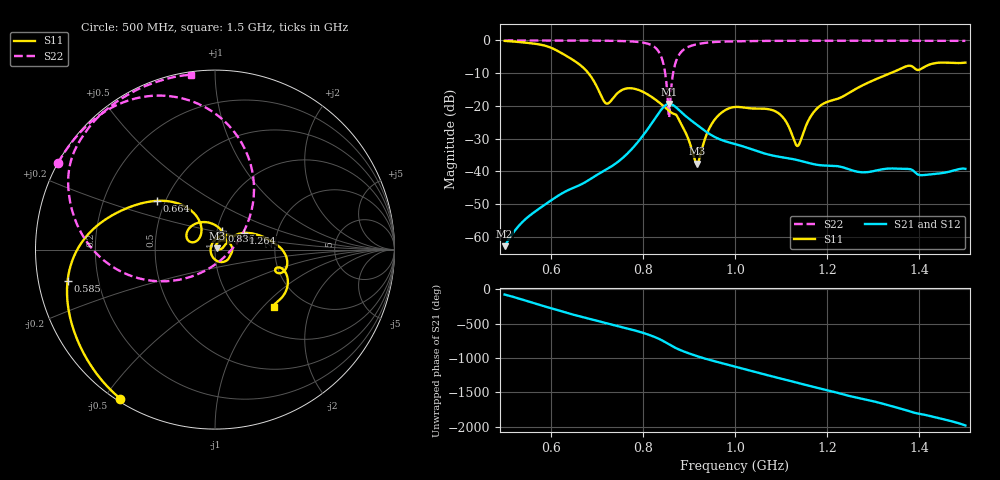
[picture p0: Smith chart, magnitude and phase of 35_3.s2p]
! TOUCHSTONE file generated by CST MICROWAVE STUDIO
! Date and time: Fri Oct 30 08:07:05 2020
! Project name: Scenario_1_Circular_Tissue_out_of_Line.cst
! Parameters = {dy1=243.594; L_HA=400; MT=2.54; Rad_Dielectric=30; Rad_Lower=7.3; Rad_Upper=30; a_HA=580; a_WG=246; b_HA=500; b_WG=121; c_HA=0; c_WG=187; d_feed=85; dx1=520; h_feed=15; h_lower=18; h_upper=40}
! Header version: 2018
! Port assignment regex: !\s*Touchstone port\s*([0-9]+)\s*=\s*(CST MWS port|CST DS port)\s*([0-9]+|Zmin|Zmax)\s*\(\"(.*)\"\)(\s*mode\s*([0-9]+))?.*
! Touchstone port assignment:
! Touchstone port 1 = CST MWS port 1 ("")
! Touchstone port 2 = CST MWS port 2 ("")
# GHz S DB R 50
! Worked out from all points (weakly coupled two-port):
!   1001 points, 500 MHz to 1.5 GHz, reference 50 ohm
!   highest |S21| = -19.38 dB at 857 MHz (marker M1); lowest = -62.9 dB at 500 MHz (marker M2)
!   lowest |S11| = -37.6 dB at 917 MHz (marker M3), VSWR 1.03, Z = 51.1 + j0.778 ohm
!   |S11| at or under -10 dB: 681.8 MHz to 1.338 GHz (655.7 MHz wide, 64.9 % of centre)
!   |S22| runs from -23.6 to 0.0 dB; largest |S21 - S12| = 6.3e-05
!   S11 on the Smith chart (normalised r, x): 500 MHz: 0.01, -0.55; 585 MHz: 0.09, -0.11; 664 MHz: 0.45, +0.30; 836 MHz: 1.05, +0.23; 1.264 GHz: 1.35, +0.26; 1.5 GHz: 1.43, -1.15
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0.5  -0.14 -122.5  -62.86 -78.0  -62.86 -78.0  -0.01 151.1
0.585  -1.51 -167.9  -50.41 113.8  -50.41 113.8  -0.02 145.2
0.621  -3.67 167.0  -47.03 43.1  -47.02 43.1  -0.02 142.4
0.664  -7.51 139.8  -44.13 -36.8  -44.14 -36.9  -0.04 138.6
0.667  -7.86 137.7  -43.93 -41.8  -43.94 -41.8  -0.04 138.3
0.72  -19.23 139.8  -39.52 -133.6  -39.52 -133.7  -0.09 132.3
0.758  -14.93 152.8  -35.69 162.9  -35.69 162.9  -0.20 125.8
0.792  -15.20 119.4  -30.57 101.9  -30.57 101.9  -0.50 116.0
0.834  -18.79 73.1  -22.30 0.8  -22.30 0.8  -3.34 82.3
0.836  -19.01 70.7  -21.90 -5.4  -21.90 -5.5  -3.80 79.0
0.847  -20.30 57.4  -20.06 -43.7  -20.06 -43.7  -8.74 53.8
0.857  -21.52 44.5  -19.38 -82.5  -19.37 -82.5  -23.62 -53.9
0.876  -23.58 27.0  -20.94 -149.8  -20.93 -149.8  -5.03 -168.9
0.917  -37.63 35.4  -25.75 107.9  -25.75 107.9  -1.17 158.8
0.954  -24.57 56.4  -29.35 35.3  -29.35 35.3  -0.50 148.0
1  -20.33 4.3  -31.67 -45.9  -31.67 -45.9  -0.27 140.1
1.091  -21.92 -59.9  -35.43 155.5  -35.43 155.5  -0.13 130.4
1.135  -32.25 -179.5  -36.53 79.3  -36.53 79.3  -0.11 126.7
1.167  -22.64 73.6  -37.69 25.5  -37.69 25.5  -0.09 124.1
1.264  -14.67 30.2  -40.07 -136.6  -40.07 -136.5  -0.08 116.7
1.334  -10.20 9.8  -39.14 110.4  -39.14 110.4  -0.09 111.4
1.5  -6.78 -44.2  -39.24 178.9  -39.24 178.9  -0.14 97.8
